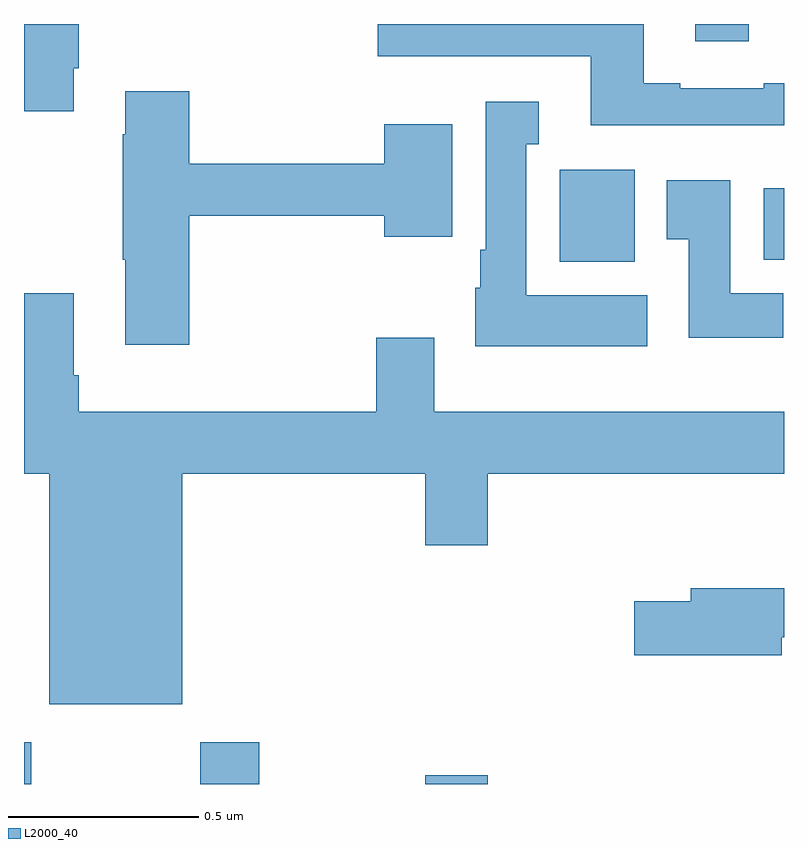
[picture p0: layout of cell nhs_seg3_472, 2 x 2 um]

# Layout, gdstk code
import gdstk
lib = gdstk.Library(unit=1e-6, precision=1e-09)
def R(c, l, rs):  # rectangles x0, y0, x1, y1
    for r in rs: c.add(gdstk.rectangle(r[:2], r[2:], *l))
def P(c, l, *ps):  # polygons
    for p in ps: c.add(gdstk.Polygon(p, *l))
L2000_40 = (2000, 40)

nhs_seg3_472 = lib.new_cell('nhs_seg3_472')
R(nhs_seg3_472, L2000_40, [(116,733.4,116.019,733.51), (116.464,733.4,116.619,733.51), (117.056,733.4,117.22,733.423), (117.41,734.774,117.607,735.016), (117.947,734.78,118,734.968), (117.767,735.354,117.907,735.4)])
P(nhs_seg3_472, L2000_40, [(116.131,735.283),(116.144,735.283),(116.144,735.4),(116,735.4),(116,735.171),(116.131,735.171)],
  [(118,735.244),(117.947,735.244),(117.947,735.231),(117.727,735.231),(117.727,735.244),(117.631,735.244),(117.631,735.4),(116.931,735.4),(116.931,735.315),(117.491,735.315),(117.491,735.134),(118,735.134)],
  [(116.435,734.896),(116.948,734.896),(116.948,734.84),(117.127,734.84),(117.127,735.136),(116.948,735.136),(116.948,735.032),(116.435,735.032),(116.435,735.223),(116.267,735.223),(116.267,735.11),(116.26,735.11),(116.26,734.779),(116.267,734.779),(116.267,734.556),(116.435,734.556)],
  [(117.64,734.686),(117.322,734.686),(117.322,735.083),(117.355,735.083),(117.355,735.196),(117.215,735.196),(117.215,734.806),(117.2,734.806),(117.2,734.706),(117.188,734.706),(117.188,734.552),(117.64,734.552)],
  [(117.998,734.692),(117.859,734.692),(117.859,734.989),(117.692,734.989),(117.692,734.833),(117.749,734.833),(117.749,734.574),(117.998,734.574)],
  [(116.416,734.216),(117.056,734.216),(117.056,734.028),(117.22,734.028),(117.22,734.216),(118,734.216),(118,734.38),(117.079,734.38),(117.079,734.575),(116.927,734.575),(116.927,734.38),(116.144,734.38),(116.144,734.476),(116.131,734.476),(116.131,734.692),(116,734.692),(116,734.216),(116.066,734.216),(116.066,733.61),(116.416,733.61)],
  [(117.994,733.786),(118,733.786),(118,733.915),(117.755,733.915),(117.755,733.881),(117.606,733.881),(117.606,733.739),(117.994,733.739)])

lib.write_gds('nhs_seg3_472.gds')
